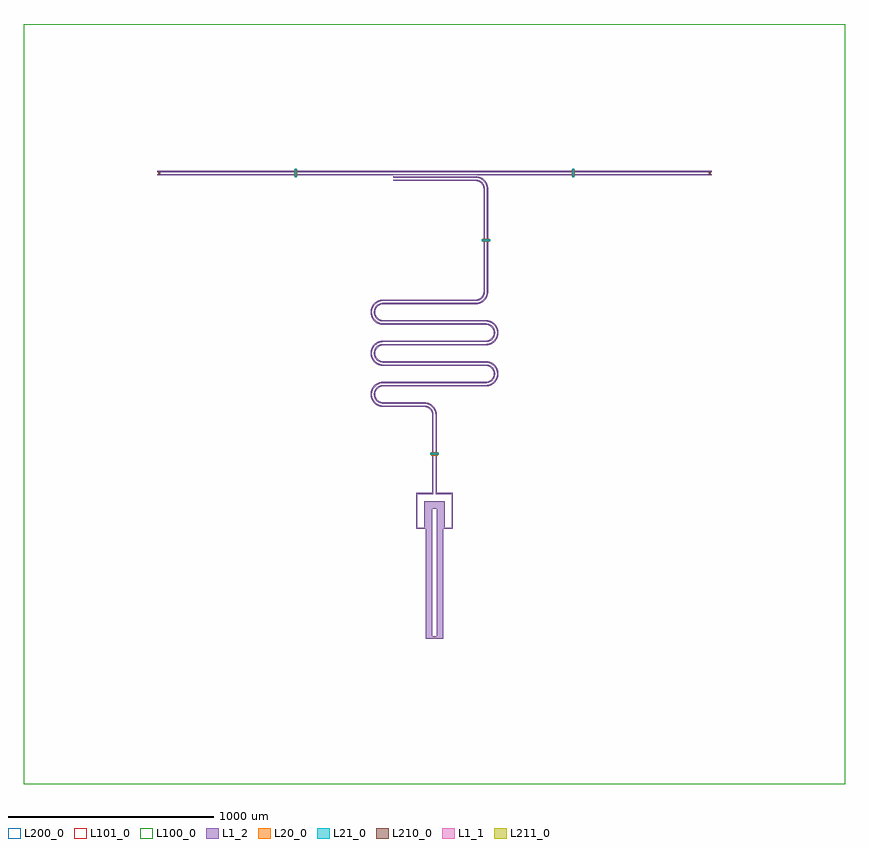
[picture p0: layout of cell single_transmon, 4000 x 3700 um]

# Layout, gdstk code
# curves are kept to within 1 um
import gdstk
lib = gdstk.Library(unit=1e-6, precision=1e-09)
def R(c, l, rs):  # rectangles x0, y0, x1, y1
    for r in rs: c.add(gdstk.rectangle(r[:2], r[2:], *l))
def P(c, l, *ps):  # polygons
    for p in ps: c.add(gdstk.Polygon(p, *l))
L1_1 = (1, 1)
L1_2 = (1, 2)
L20_0 = (20, 0)
L21_0 = (21, 0)
L100_0 = (100, 0)
L101_0 = (101, 0)
L200_0 = (200, 0)
L210_0 = (210, 0)
L211_0 = (211, 0)

single_transmon = lib.new_cell('single_transmon')
R(single_transmon, L1_1, [(-0.5,0,0.5,5.5), (-0.5,6.5,0.5,12)])
R(single_transmon, L1_2, [(-11,710,-5,1090), (5,710,11,1090), (-249.898,1129,-50,1135), (-249.898,1145,-50,1151), (-249.898,1229,249.898,1235), (-249.898,1245,249.898,1251), (-249.898,1329,249.898,1335), (-249.898,1345,249.898,1351), (-249.898,1429,249.898,1435), (-249.898,1445,249.898,1451), (-249.898,1529,249.898,1535), (-249.898,1545,249.898,1551), (-249.898,1629,200,1635), (-249.898,1645,200,1651), (239,1690,245,2190), (255,1690,261,2190), (-200,2229,200,2235), (-200,2245,200,2251), (-1350,2256,0,2262), (0,2256,1350,2262), (-1350,2272,0,2278), (0,2272,1350,2278)])
P(single_transmon, L1_2, [(-90,710),(-90,535),(-44,535),(-44,664),(-50,664),(-50,541),(-84,541),(-84,704),(-5,704),(-5,710)],
  [(44,535),(90,535),(90,664),(84,664),(84,541),(50,541),(50,670),(-50,670),(-50,664),(44,664)],
  [(84,664),(90,664),(90,710),(5,710),(5,704),(84,704)],
  [(200,2245),(209.841,2244.112),(219.503,2241.426),(228.377,2237.114),(236.543,2231.105),(244.686,2222.065),(250.189,2212.495),(253.882,2201.033),(255,2190),(261,2190),(259.76,2202.236),(255.665,2214.949),(249.561,2225.563),(240.53,2235.589),(228.411,2243.98),(213.477,2249.493),(200,2251)],
  [(200,2229),(206.978,2228.371),(213.168,2226.71),(219.554,2223.744),(225.211,2219.756),(231.158,2213.456),(235.263,2206.66),(238.045,2198.579),(239,2190),(245,2190),(243.898,2199.899),(240.688,2209.223),(235.467,2217.696),(229.09,2224.333),(219.264,2230.668),(207.282,2234.407),(200,2235)],
  [(255,1690),(254.112,1680.159),(251.426,1670.497),(247.114,1661.623),(241.105,1653.457),(232.065,1645.314),(222.495,1639.811),(211.033,1636.118),(200,1635),(200,1629),(212.236,1630.24),(224.949,1634.335),(235.563,1640.439),(245.589,1649.47),(253.98,1661.589),(259.493,1676.523),(261,1690)],
  [(239,1690),(238.371,1683.022),(236.71,1676.832),(233.744,1670.446),(229.756,1664.789),(223.456,1658.842),(216.66,1654.737),(208.579,1651.955),(200,1651),(200,1645),(209.899,1646.102),(219.223,1649.312),(227.696,1654.533),(234.333,1660.91),(240.668,1670.736),(244.407,1682.718),(245,1690)],
  [(-249.898,1635),(-258.878,1634.095),(-267.569,1631.385),(-275.437,1627.051),(-281.731,1621.807),(-287.4,1614.872),(-291.32,1607.584),(-293.984,1599.027),(-294.898,1590.086),(-294.17,1581.936),(-291.636,1573.179),(-287.397,1565.124),(-281.744,1558.206),(-274.692,1552.446),(-267.551,1548.607),(-258.816,1545.892),(-249.898,1545),(-249.898,1551),(-258.419,1551.942),(-265.971,1554.466),(-273.34,1558.831),(-279.558,1564.676),(-283.648,1570.457),(-286.644,1576.932),(-288.898,1590.075),(-288.249,1597.087),(-286.381,1603.785),(-283.269,1610.184),(-279.561,1615.32),(-273.351,1621.161),(-266.594,1625.246),(-258.515,1628.036),(-249.898,1629)],
  [(-249.898,1651),(-260.813,1650.016),(-272.602,1646.618),(-283.595,1640.848),(-293.049,1633.116),(-300.734,1623.715),(-306.048,1613.837),(-309.658,1602.236),(-310.898,1590.117),(-309.911,1579.069),(-306.476,1567.198),(-300.73,1556.279),(-293.067,1546.901),(-283.508,1539.094),(-272.685,1533.416),(-261.986,1530.21),(-249.898,1529),(-249.898,1535),(-261.915,1536.329),(-272.565,1539.888),(-282.956,1546.044),(-291.097,1553.563),(-296.994,1561.592),(-301.291,1570.411),(-304.008,1580.144),(-304.898,1590.106),(-303.983,1599.994),(-301.348,1609.44),(-296.96,1618.464),(-291.077,1626.46),(-282.132,1634.564),(-272.409,1640.182),(-260.873,1643.894),(-249.898,1645)],
  [(249.898,1545),(260.873,1543.894),(270.369,1541.049),(280.28,1535.847),(288.805,1528.875),(295.734,1520.399),(300.525,1511.492),(303.78,1501.033),(304.898,1490.106),(304.008,1480.144),(301.291,1470.411),(296.994,1461.592),(291.097,1453.563),(282.956,1446.044),(272.565,1439.888),(261.915,1436.329),(249.898,1435),(249.898,1429),(261.986,1430.21),(272.685,1433.416),(283.508,1439.094),(293.067,1446.901),(300.73,1456.279),(306.476,1467.198),(309.911,1479.069),(310.898,1490.117),(309.404,1503.419),(305.563,1514.949),(299.459,1525.563),(290.428,1535.589),(278.31,1543.98),(263.375,1549.493),(249.898,1551)],
  [(249.898,1529),(257.68,1528.216),(265.213,1525.867),(272.032,1522.111),(277.487,1517.566),(282.4,1511.555),(285.797,1505.24),(288.106,1497.823),(288.898,1490.075),(286.644,1476.932),(283.648,1470.457),(279.558,1464.676),(273.34,1458.831),(265.971,1454.466),(258.419,1451.942),(249.898,1451),(249.898,1445),(258.816,1445.892),(267.551,1448.607),(274.692,1452.446),(281.744,1458.206),(287.397,1465.124),(291.636,1473.179),(294.17,1481.936),(294.898,1490.086),(293.796,1499.899),(290.586,1509.223),(285.366,1517.696),(278.988,1524.333),(269.162,1530.668),(257.18,1534.407),(249.898,1535)],
  [(-249.898,1435),(-258.878,1434.095),(-267.569,1431.385),(-275.437,1427.051),(-281.731,1421.807),(-287.4,1414.872),(-291.32,1407.584),(-293.984,1399.027),(-294.898,1390.086),(-294.17,1381.936),(-291.636,1373.179),(-287.397,1365.124),(-281.744,1358.206),(-274.692,1352.446),(-267.551,1348.607),(-258.816,1345.892),(-249.898,1345),(-249.898,1351),(-258.419,1351.942),(-265.971,1354.466),(-273.34,1358.831),(-279.558,1364.676),(-283.648,1370.457),(-286.644,1376.932),(-288.898,1390.075),(-288.249,1397.087),(-286.381,1403.785),(-283.269,1410.184),(-279.561,1415.32),(-273.351,1421.161),(-266.594,1425.246),(-258.515,1428.036),(-249.898,1429)],
  [(-249.898,1451),(-260.813,1450.016),(-272.602,1446.618),(-283.595,1440.848),(-293.049,1433.116),(-300.734,1423.715),(-306.048,1413.837),(-309.658,1402.236),(-310.898,1390.117),(-309.911,1379.069),(-306.476,1367.198),(-300.73,1356.279),(-293.067,1346.901),(-283.508,1339.094),(-272.685,1333.416),(-261.986,1330.21),(-249.898,1329),(-249.898,1335),(-261.915,1336.329),(-272.565,1339.888),(-282.956,1346.044),(-291.097,1353.563),(-296.994,1361.592),(-301.291,1370.411),(-304.008,1380.144),(-304.898,1390.106),(-303.983,1399.994),(-301.348,1409.44),(-296.96,1418.464),(-291.077,1426.46),(-282.132,1434.564),(-272.409,1440.182),(-260.873,1443.894),(-249.898,1445)],
  [(249.898,1345),(260.873,1343.894),(270.369,1341.049),(280.28,1335.847),(288.805,1328.875),(295.734,1320.399),(300.525,1311.492),(303.78,1301.033),(304.898,1290.106),(304.008,1280.144),(301.291,1270.411),(296.994,1261.592),(291.097,1253.563),(282.956,1246.044),(272.565,1239.888),(261.915,1236.329),(249.898,1235),(249.898,1229),(261.986,1230.21),(272.685,1233.416),(283.508,1239.094),(293.067,1246.901),(300.73,1256.279),(306.476,1267.198),(309.911,1279.069),(310.898,1290.117),(309.404,1303.419),(305.563,1314.949),(299.459,1325.563),(290.428,1335.589),(278.31,1343.98),(263.375,1349.493),(249.898,1351)],
  [(249.898,1329),(257.68,1328.216),(265.213,1325.867),(272.032,1322.111),(277.487,1317.566),(282.4,1311.555),(285.797,1305.24),(288.106,1297.823),(288.898,1290.075),(286.644,1276.932),(283.648,1270.457),(279.558,1264.676),(273.34,1258.831),(265.971,1254.466),(258.419,1251.942),(249.898,1251),(249.898,1245),(258.816,1245.892),(267.551,1248.607),(274.692,1252.446),(281.744,1258.206),(287.397,1265.124),(291.636,1273.179),(294.17,1281.936),(294.898,1290.086),(293.796,1299.899),(290.586,1309.223),(285.366,1317.696),(278.988,1324.333),(269.162,1330.668),(257.18,1334.407),(249.898,1335)],
  [(-249.898,1235),(-258.878,1234.095),(-267.569,1231.385),(-275.437,1227.051),(-281.731,1221.807),(-287.4,1214.872),(-291.32,1207.584),(-293.984,1199.027),(-294.898,1190.086),(-294.17,1181.936),(-291.636,1173.179),(-287.397,1165.124),(-281.744,1158.206),(-274.692,1152.446),(-267.551,1148.607),(-258.816,1145.892),(-249.898,1145),(-249.898,1151),(-258.419,1151.942),(-265.971,1154.466),(-273.34,1158.831),(-279.558,1164.676),(-283.648,1170.457),(-286.644,1176.932),(-288.898,1190.075),(-288.249,1197.087),(-286.381,1203.785),(-283.269,1210.184),(-279.561,1215.32),(-273.351,1221.161),(-266.594,1225.246),(-258.515,1228.036),(-249.898,1229)],
  [(-249.898,1251),(-260.813,1250.016),(-272.602,1246.618),(-283.595,1240.848),(-293.049,1233.116),(-300.734,1223.715),(-306.048,1213.837),(-309.658,1202.236),(-310.898,1190.117),(-309.911,1179.069),(-306.476,1167.198),(-300.73,1156.279),(-293.067,1146.901),(-283.508,1139.094),(-272.685,1133.416),(-261.986,1130.21),(-249.898,1129),(-249.898,1135),(-261.915,1136.329),(-272.565,1139.888),(-282.956,1146.044),(-291.097,1153.563),(-296.994,1161.592),(-301.291,1170.411),(-304.008,1180.144),(-304.898,1190.106),(-303.983,1199.994),(-301.348,1209.44),(-296.96,1218.464),(-291.077,1226.46),(-282.132,1234.564),(-272.409,1240.182),(-260.873,1243.894),(-249.898,1245)],
  [(-50,1145),(-40.159,1144.112),(-30.497,1141.426),(-21.623,1137.114),(-13.457,1131.105),(-5.314,1122.065),(0.189,1112.495),(3.882,1101.033),(5,1090),(11,1090),(9.76,1102.236),(5.665,1114.949),(-0.439,1125.563),(-9.47,1135.589),(-21.589,1143.98),(-36.523,1149.493),(-50,1151)],
  [(-50,1129),(-43.022,1128.371),(-36.832,1126.71),(-30.446,1123.744),(-24.789,1119.756),(-18.842,1113.456),(-14.737,1106.66),(-11.955,1098.579),(-11,1090),(-5,1090),(-6.102,1099.899),(-9.312,1109.223),(-14.533,1117.696),(-20.91,1124.333),(-30.736,1130.668),(-42.718,1134.407),(-50,1135)],
  [(42,662),(42,662),(-42,662),(-42,662),(-42,0),(-42,0),(-12,0),(-12,12),(-12,12),(-12,632),(-12,632),(12,632),(12,632),(12,12),(12,12),(-12,12),(-12,0),(42,0),(42,0)])
R(single_transmon, L20_0, [(-16,892,16,908), (234,1932,266,1948), (-683,2251,-667,2283), (667,2251,683,2283)])
R(single_transmon, L21_0, [(-21,895,21,905), (229,1935,271,1945), (-680,2246,-670,2288), (670,2246,680,2288)])
R(single_transmon, L100_0, [(-2000,-707,2000,2993)])
R(single_transmon, L101_0, [(-2000,-707,2000,2993)])
R(single_transmon, L200_0, [(-2000,-707,2000,2993)])
R(single_transmon, L210_0, [(-1345,2262,-1335,2272), (-1345,2262,-1335,2272), (1335,2262,1345,2272), (1335,2262,1345,2272)])
R(single_transmon, L211_0, [(-0.5,5.5,0.5,6.5), (-0.5,5.5,0.5,6.5)])

lib.write_gds('single_transmon.gds')
